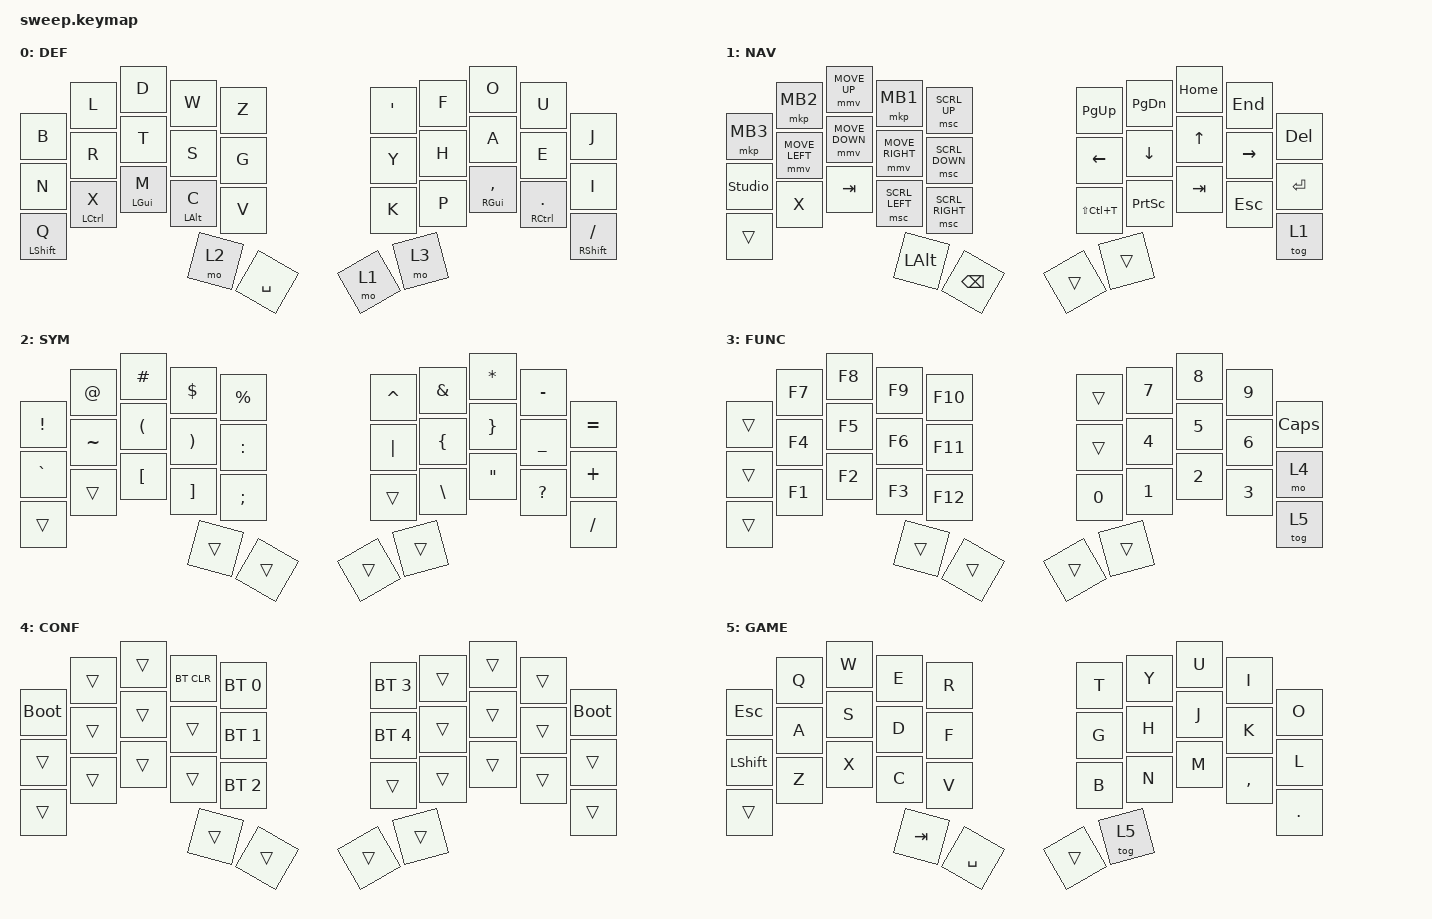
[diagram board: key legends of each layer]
// Copyright (c) 2022 The ZMK Contributors
// SPDX-License-Identifier: MIT

#define ZMK_POINTING_DEFAULT_MOVE_VAL 2500// 600
#define ZMK_POINTING_DEFAULT_SCRL_VAL 30// 10

#include <behaviors.dtsi>
#include <dt-bindings/zmk/bt.h>
#include <dt-bindings/zmk/keys.h>
#include <dt-bindings/zmk/pointing.h>

#define BASE  0
#define NAV  1
#define SYM  2
#define FUNC 3
#define CONF 4
#define GAME 5

/ {
    behaviors {
        mmv {
            acceleration-exponent = <1>;// 1
            time-to-max-speed-ms = <300>;// 40
            delay-ms = <0>;// 0
        };

        ht: hold_tap {
            compatible = "zmk,behavior-hold-tap";
            #binding-cells = <2>;
            flavor = "balanced";
            tapping-term-ms = <200>;
            quick-tap-ms = <150>;
            require-prior-idle-ms = <125>;
            bindings = <&kp>, <&kp>;
        };
    };

    combos {
        compatible = "zmk,combos";

        Enter {
            bindings = <&kp ENTER>;
            key-positions = <18 19>;
        };
    };

    keymap {
        compatible = "zmk,keymap";

        default_layer {
            display-name = "DEF";
            bindings = <
&kp B             &kp L        &kp D           &kp W           &kp Z        &kp SINGLE_QUOTE  &kp F  &kp O                &kp U             &kp J
&kp N             &kp R        &kp T           &kp S           &kp G        &kp Y             &kp H  &kp A                &kp E             &kp I
&ht LEFT_SHIFT Q  &ht LCTRL X  &ht LEFT_GUI M  &ht LEFT_ALT C  &kp V        &kp K             &kp P  &ht RIGHT_GUI COMMA  &ht RCTRL PERIOD  &ht RIGHT_SHIFT FSLH
                                               &mo 2           &kp SPACE    &mo 1             &mo 3
            >;
        };

        right_layer {
            display-name = "NAV";
            bindings = <
&mkp MB3  &mkp MB2        &mmv MOVE_UP    &mkp MB1         &msc SCRL_UP       &kp PAGE_UP    &kp PAGE_DOWN    &kp HOME  &kp END     &kp DELETE
&studio_unlock    &mmv MOVE_LEFT  &mmv MOVE_DOWN  &mmv MOVE_RIGHT  &msc SCRL_DOWN     &kp LEFT       &kp DOWN         &kp UP    &kp RIGHT   &kp ENTER
&trans    &kp X           &kp TAB         &msc SCRL_LEFT   &msc SCRL_RIGHT    &kp LS(LC(T))  &kp PRINTSCREEN  &kp TAB   &kp ESCAPE  &tog 1
                                          &kp LEFT_ALT     &kp BACKSPACE      &trans         &trans
            >;
        };

        left_layer {
            display-name = "SYM";
            bindings = <
&kp EXCL   &kp AT     &kp HASH              &kp DLLR               &kp PRCNT    &kp CARET  &kp AMPS        &kp ASTRK          &kp MINUS     &kp EQUAL
&kp GRAVE  &kp TILDE  &kp LEFT_PARENTHESIS  &kp RIGHT_PARENTHESIS  &kp COLON    &kp PIPE   &kp LEFT_BRACE  &kp RIGHT_BRACE    &kp UNDER     &kp PLUS
&trans     &trans     &kp LBKT              &kp RBKT               &kp SEMI     &trans     &kp BSLH        &kp DOUBLE_QUOTES  &kp QUESTION  &kp FSLH
                                            &trans                 &trans       &trans     &trans
            >;
        };

        tri_layer {
            display-name = "FUNC";
            bindings = <
&trans  &kp F7  &kp F8  &kp F9  &kp F10    &trans        &kp NUMBER_7  &kp NUMBER_8  &kp NUMBER_9  &kp CAPSLOCK
&trans  &kp F4  &kp F5  &kp F6  &kp F11    &trans        &kp NUMBER_4  &kp N5        &kp NUMBER_6  &mo 4
&trans  &kp F1  &kp F2  &kp F3  &kp F12    &kp NUMBER_0  &kp NUMBER_1  &kp NUMBER_2  &kp NUMBER_3  &tog 5
                        &trans  &trans     &trans        &trans
            >;
        };

        config_layer {
            display-name="CONF";
            bindings = <
&bootloader  &trans  &trans  &bt BT_CLR  &bt BT_SEL 0    &bt BT_SEL 3  &trans  &trans  &trans  &bootloader
&trans       &trans  &trans  &trans      &bt BT_SEL 1    &bt BT_SEL 4  &trans  &trans  &trans  &trans
&trans       &trans  &trans  &trans      &bt BT_SEL 2    &trans        &trans  &trans  &trans  &trans
                             &trans      &trans          &trans        &trans
            >;
        };

        gaming_layer {
            display-name = "GAME";
            bindings = <
&kp ESCAPE  &kp Q  &kp W  &kp E    &kp R        &kp T   &kp Y   &kp U  &kp I      &kp O
&kp LSHFT   &kp A  &kp S  &kp D    &kp F        &kp G   &kp H   &kp J  &kp K      &kp L
&trans      &kp Z  &kp X  &kp C    &kp V        &kp B   &kp N   &kp M  &kp COMMA  &kp DOT
                          &kp TAB  &kp SPACE    &trans  &tog 5
            >;
        };
    };
};
